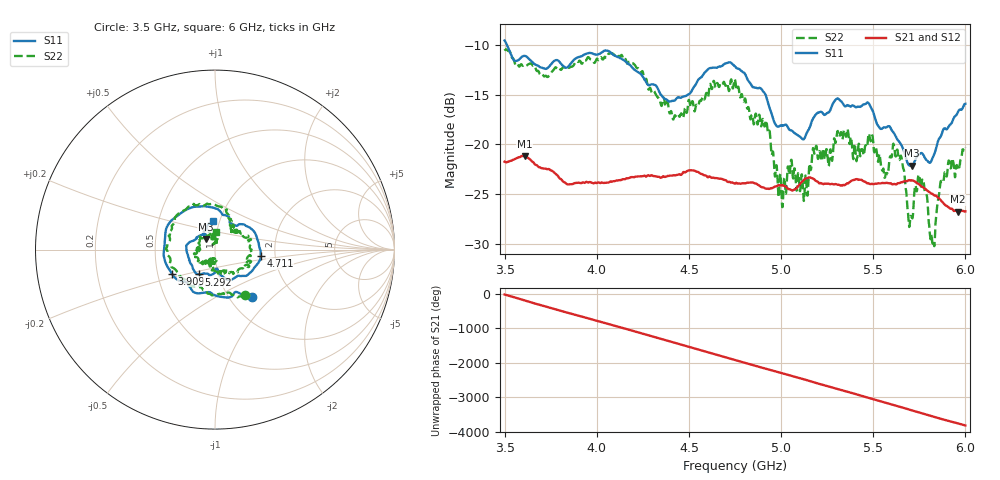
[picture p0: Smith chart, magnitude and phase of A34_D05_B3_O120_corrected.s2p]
! Created with skrf 1.9.0 (http://scikit-rf.org).
# Hz S RI R 50.0
!freq ReS11 ImS11 ReS21 ImS21 ReS12 ImS12 ReS22 ImS22
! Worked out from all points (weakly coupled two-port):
!   1601 points, 3.5 GHz to 6 GHz, reference 50 ohm
!   highest |S21| = -21.17 dB at 3.609 GHz (marker M1); lowest = -26.8 dB at 5.959 GHz (marker M2)
!   lowest |S11| = -22.2 dB at 5.709 GHz (marker M3), VSWR 1.17, Z = 44.9 + j5.32 ohm
!   |S11| at or under -10 dB: 3.512 GHz to end of sweep
!   |S22| runs from -30.3 to -10.4 dB; largest |S21 - S12| = 0.00098
!   S11 on the Smith chart (normalised r, x): 3.5 GHz: 1.27, -0.75; 3.909 GHz: 0.59, -0.17; 4.711 GHz: 1.68, -0.12; 5.292 GHz: 0.80, -0.23; 6 GHz: 0.93, +0.31
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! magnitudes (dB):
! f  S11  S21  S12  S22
! 3.5 GHz  -9.6  -21.8  -21.7  -10.4
! 3.609 GHz  -11.1  -21.2  -21.2  -12.0
! 3.909 GHz  -11.2  -23.9  -23.9  -11.6
! 3.917 GHz  -11.2  -23.9  -23.9  -11.9
! 4.127 GHz  -11.3  -23.6  -23.6  -11.2
! 4.334 GHz  -14.5  -23.3  -23.2  -15.4
! 4.711 GHz  -11.8  -23.8  -23.8  -14.1
! 4.75 GHz  -12.2  -24.0  -23.9  -13.5
! 4.928 GHz  -15.8  -24.4  -24.4  -18.8
! 4.998 GHz  -18.1  -24.1  -24.1  -23.3
! 5.047 GHz  -18.6  -24.5  -24.5  -22.9
! 5.133 GHz  -19.1  -23.5  -23.4  -23.1
! 5.167 GHz  -17.7  -23.4  -23.4  -21.5
! 5.292 GHz  -15.6  -24.0  -24.0  -19.6
! 5.584 GHz  -18.2  -23.9  -23.9  -22.2
! 5.642 GHz  -19.8  -23.9  -23.9  -21.6
! 5.709 GHz  -22.2  -23.6  -23.6  -27.4
! 5.759 GHz  -20.9  -24.2  -24.2  -24.5
! 5.823 GHz  -21.3  -25.0  -25.0  -30.2
! 5.875 GHz  -18.8  -25.8  -25.8  -23.7
! 5.959 GHz  -16.8  -26.8  -26.7  -22.2
! 6 GHz  -15.9  -26.8  -26.7  -20.3
